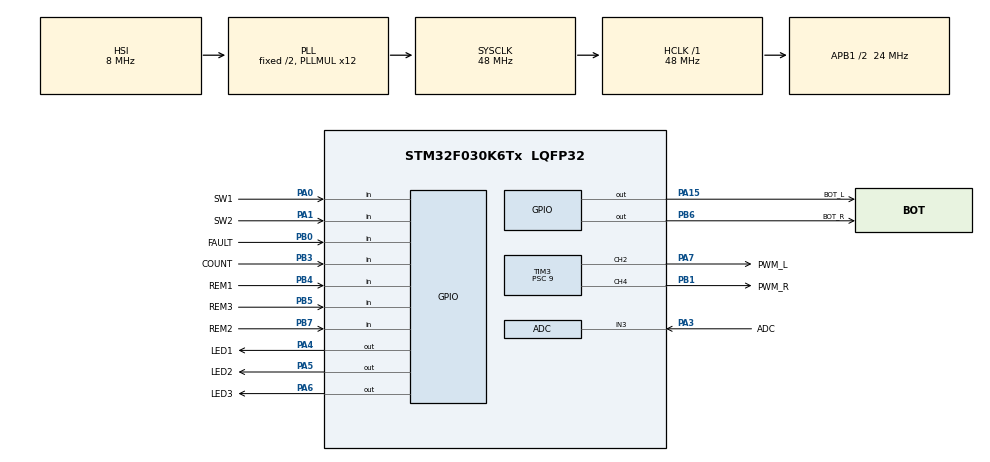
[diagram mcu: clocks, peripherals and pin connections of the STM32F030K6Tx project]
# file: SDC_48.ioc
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ADC.ContinuousConvMode=ENABLE
ADC.Overrun=ADC_OVR_DATA_OVERWRITTEN
Mcu.Family=STM32F0
Mcu.Name=STM32F030K6Tx
Mcu.Package=LQFP32
NVIC.TIM14_IRQn=true\:0\:0\:false\:false\:true\:true
NVIC.TIM16_IRQn=true\:0\:0\:false\:false\:true\:true
NVIC.TIM17_IRQn=true\:0\:0\:false\:false\:true\:true
PA0.GPIO_Label=SW1
PA0.Signal=GPIO_Input
PA1.GPIO_Label=SW2
PA1.Signal=GPIO_Input
PA13.Mode=Serial_Wire
PA13.Signal=SYS_SWDIO
PA14.Mode=Serial_Wire
PA14.Signal=SYS_SWCLK
PA15.GPIO_Label=BOT_L
PA15.Signal=GPIO_Output
PA3.GPIO_Label=ADC
PA3.Mode=IN3
PA3.Signal=ADC_IN3
PA4.GPIO_Label=LED1
PA4.Signal=GPIO_Output
PA5.GPIO_Label=LED2
PA5.Signal=GPIO_Output
PA6.GPIO_Label=LED3
PA6.Signal=GPIO_Output
PA7.GPIO_Label=PWM_L
PA7.Signal=S_TIM3_CH2
PB0.GPIO_Label=FAULT
PB0.Signal=GPIO_Input
PB1.GPIO_Label=PWM_R
PB1.GPIO_PuPd=GPIO_NOPULL
PB1.Signal=S_TIM3_CH4
PB3.GPIO_Label=COUNT
PB3.Signal=GPIO_Input
PB4.GPIO_Label=REM1
PB4.Signal=GPIO_Input
PB5.GPIO_Label=REM3
PB5.Signal=GPIO_Input
PB6.GPIO_Label=BOT_R
PB6.Signal=GPIO_Output
PB7.GPIO_Label=REM2
PB7.Signal=GPIO_Input
PF0-OSC_IN.Mode=HSE-External-Oscillator
PF0-OSC_IN.Signal=RCC_OSC_IN
PF1-OSC_OUT.Mode=HSE-External-Oscillator
PF1-OSC_OUT.Signal=RCC_OSC_OUT
ProjectManager.HeapSize=0x200
ProjectManager.StackSize=0x400
ProjectManager.TargetToolchain=SW4STM32
RCC.AHBFreq_Value=48000000
RCC.APB1CLKDivider=RCC_HCLK_DIV2
RCC.APB1Freq_Value=24000000
RCC.APB1TimFreq_Value=48000000
RCC.HCLKFreq_Value=48000000
RCC.HSE_VALUE=6000000
RCC.PLLMUL=RCC_PLL_MUL12
RCC.SYSCLKFreq_VALUE=48000000
RCC.SYSCLKSource=RCC_SYSCLKSOURCE_PLLCLK
SH.S_TIM3_CH2.0=TIM3_CH2,PWM Generation2 CH2
SH.S_TIM3_CH4.0=TIM3_CH4,PWM Generation4 CH4
TIM14.Period=23
TIM14.Prescaler=999
TIM16.AutoReloadPreload=TIM_AUTORELOAD_PRELOAD_ENABLE
TIM16.Period=479
TIM16.Prescaler=9999
TIM16.RepetitionCounter=0
TIM17.Period=47
TIM17.Prescaler=999
TIM3.AutoReloadPreload=TIM_AUTORELOAD_PRELOAD_ENABLE
TIM3.Channel-PWM\ Generation2\ CH2=TIM_CHANNEL_2
TIM3.Channel-PWM\ Generation4\ CH4=TIM_CHANNEL_4
TIM3.Period=239
TIM3.Prescaler=9
TIM3.Pulse-PWM\ Generation2\ CH2=24
TIM3.Pulse-PWM\ Generation4\ CH4=24
VP_TIM14_VS_ClockSourceINT.Mode=Enable_Timer
VP_TIM16_VS_ClockSourceINT.Mode=Enable_Timer
VP_TIM17_VS_ClockSourceINT.Mode=Enable_Timer
board=custom

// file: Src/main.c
/**
  ******************************************************************************
  * @file           : main.c
  * @brief          : Main program body
  ******************************************************************************
  ** This notice applies to any and all portions of this file
  * that are not between comment pairs USER CODE BEGIN and
  * USER CODE END. Other portions of this file, whether
  * inserted by the user or by software development tools
  * are owned by their respective copyright owners.
  *
  * COPYRIGHT(c) 2019 STMicroelectronics
  *
  * Redistribution and use in source and binary forms, with or without modification,
  * are permitted provided that the following conditions are met:
  *   1. Redistributions of source code must retain the above copyright notice,
  *      this list of conditions and the following disclaimer.
  *   2. Redistributions in binary form must reproduce the above copyright notice,
  *      this list of conditions and the following disclaimer in the documentation
  *      and/or other materials provided with the distribution.
  *   3. Neither the name of STMicroelectronics nor the names of its contributors
  *      may be used to endorse or promote products derived from this software
  *      without specific prior written permission.
  *
  * THIS SOFTWARE IS PROVIDED BY THE COPYRIGHT HOLDERS AND CONTRIBUTORS "AS IS"
  * AND ANY EXPRESS OR IMPLIED WARRANTIES, INCLUDING, BUT NOT LIMITED TO, THE
  * IMPLIED WARRANTIES OF MERCHANTABILITY AND FITNESS FOR A PARTICULAR PURPOSE ARE
  * DISCLAIMED. IN NO EVENT SHALL THE COPYRIGHT HOLDER OR CONTRIBUTORS BE LIABLE
  * FOR ANY DIRECT, INDIRECT, INCIDENTAL, SPECIAL, EXEMPLARY, OR CONSEQUENTIAL
  * DAMAGES (INCLUDING, BUT NOT LIMITED TO, PROCUREMENT OF SUBSTITUTE GOODS OR
  * SERVICES; LOSS OF USE, DATA, OR PROFITS; OR BUSINESS INTERRUPTION) HOWEVER
  * CAUSED AND ON ANY THEORY OF LIABILITY, WHETHER IN CONTRACT, STRICT LIABILITY,
  * OR TORT (INCLUDING NEGLIGENCE OR OTHERWISE) ARISING IN ANY WAY OUT OF THE USE
  * OF THIS SOFTWARE, EVEN IF ADVISED OF THE POSSIBILITY OF SUCH DAMAGE.
  *
  ******************************************************************************
  */
#include "main.h"
#include "stm32f0xx_hal.h"

ADC_HandleTypeDef hadc;

TIM_HandleTypeDef htim3;
TIM_HandleTypeDef htim14;
TIM_HandleTypeDef htim16;
TIM_HandleTypeDef htim17;

/* USER CODE BEGIN PV */
/* Private variables ---------------------------------------------------------*/
#define time_ms_for_50_pr 340  // oczekiwany czas do timera do 50%
#define time_ms_for_10_pr 1700 // oczekiwany czas do timera do 10%
#define expected_val_for_50_pr (time_ms_for_50_pr * 2)
#define expected_val_for_10_pr (time_ms_for_10_pr * 2)
#define tim_50_pr_max 120  // wartoœc max ocr dla pwm dla pwm przy 50%
#define tim_10_pr_max 34   // wartoœc max ocr dla pwm dla pwm przy 10%
uint8_t timer_50_pr_val = tim_50_pr_max;
uint8_t timer_10_pr_val = tim_10_pr_max;
uint32_t val_1;

#define FAST 1
#define SLOW 0
#define LEFT 0
#define RIGHT 1
#define ADD 1
#define DONT_ADD 0
#define FULL_OPEN 58	    // iloœc kroków do pe³nego otwarcia bramy
#define HALF_OPEN 37        // iloœc kroków do po³owy
uint16_t adc_val = 100;		// wartoœc chwilowa adc
uint8_t motor_steps = 0;	// licznik kroków (na magnesach)
uint8_t wait_for_fast = 0;	// licznki który po pewnym czasie za³¹cza szybkie otwieranie zamykanie
uint8_t direction;			// okreœla kierunek czy kroki maj¹ siê zwiêkszac czy zmniejszac
uint8_t adding_actived = 0;	// zlicza kroki tylko w czasie pracy silnika
uint16_t time_between = 0;	// okreœla czas miêdzy poszczególnymi krokami opcjonalnie na jej podstawie ustalanie bedzie wype³nienie miedzy trybem szybkim a wolnym 1 setunda = wartoœc zmiennej 2000
uint8_t last_step = 0;		// zmienna pomocnicza do tim14 i time_between s³u¿y do okreœlenia zmiany kroku
uint8_t current_step = 0;	// zmienna pomocnicza do tim14 i time_between s³u¿y do okreœlenia zmiany kroku
uint8_t speed_mode =SLOW;   // okreœla prêdkoœc silnika
/* USER CODE END PV */

void SystemClock_Config(void);
static void MX_GPIO_Init(void);
static void MX_ADC_Init(void);
static void MX_TIM3_Init(void);
static void MX_TIM16_Init(void);
static void MX_TIM17_Init(void);
static void MX_TIM14_Init(void);

void HAL_TIM_MspPostInit(TIM_HandleTypeDef *htim);

/* USER CODE BEGIN PFP */
/* Private function prototypes -----------------------------------------------*/

void HAL_TIM_PeriodElapsedCallback(TIM_HandleTypeDef *htim){
	if(htim->Instance == TIM14){
		// timer 2 kHz odpowiada za przeliczenie wype³nienia 44 - 50% na wyjœciu pwm w zale¿noœci od czasu miedzy zliczonymi krokami

		current_step = motor_steps;
		if(current_step != last_step){ // je¿eli licznik kroków w³aœnie siê zwiêkszy³ i w³¹czony jest tryb szybki to ...
			if(speed_mode == FAST){
			int val;
			val = expected_val_for_50_pr - time_between;
			if(val<0){ // czas pomiedzy nie mo¿e byc krótszy ni¿ oczekiwany je¿eli jest to podaj wype³nienie maksymalne
				timer_50_pr_val = tim_50_pr_max;
			}
			else if(val > 425){ // czas pomiedzy nie mo¿e byc za d³ugi wype³nienie minimalne 44%
				timer_50_pr_val = 105;
			}
			else{
				val_1 = ((expected_val_for_50_pr - time_between)*10000) / expected_val_for_50_pr; // przeliczanie czasu pomiedzy na wype³nienie (ko¿ysta z funkcji map z arduino)
				val_1 = (50 * 1000) - val_1;
				val_1 = (val_1 - 0) * ((tim_50_pr_max * 1000) - 0) / (5000 - 0) + 0;
				val_1 /= 1000;
				timer_50_pr_val = val_1;
			}
			}
			time_between = 0;  // po zmianie wype³nienia zeruje licznki
		}
		last_step = current_step;
		time_between++;  // zwiêkszanie licznika czasu pomiedzy
	}
	if(htim->Instance == TIM16){
		    // timer z przerwaniem na 10 Hz ma ustalic sta³¹ czasow¹ do prze³¹czania wype³nienia z 10 do 50% ( wolny start silnika )
			if(HAL_GPIO_ReadPin(SW1_GPIO_Port,SW1_Pin)==0){ // przy przycisku resetuje program na wszeli wypadek
				NVIC_SystemReset();
			}
			if(HAL_GPIO_ReadPin(FAULT_GPIO_Port,FAULT_Pin)==0){ // przy przycisku resetuje program na wszeli wypadek
				NVIC_SystemReset();
			}
			wait_for_fast++;
		}
	if(htim->Instance == TIM17){
		     // timer który zlicza kroki silnika ustawiony na 1 kHz
		if(HAL_GPIO_ReadPin(COUNT_GPIO_Port,COUNT_Pin)==0 && adding_actived){
			while(!HAL_GPIO_ReadPin(COUNT_GPIO_Port,COUNT_Pin));
			switch(direction){
			case LEFT:
				motor_steps--;
				break;
			case RIGHT:
				motor_steps++;
				break;
			}
		}
	}
}

//uint32_t map(uint32_t x, uint32_t in_min, uint32_t in_max, uint32_t out_min, uint32_t out_max) {   // mapuje wartoœc adc by przeliczyc j¹ na wolty
//	return (x - in_min) * (out_max - out_min) / (in_max - in_min) + out_min;
//}
void change_speed(uint8_t channel,uint8_t speed){
	speed_mode = speed;
	if(channel == 4){
		if(speed==FAST)TIM3->CCR4 = timer_50_pr_val;
		if(speed==SLOW)TIM3->CCR4 = 34;
	}
	if(channel == 2){
		if(speed==FAST)TIM3->CCR2 = timer_50_pr_val;
		if(speed==SLOW)TIM3->CCR2 = 34;
	}
}
void go_left(uint8_t adding){ // silnik skrêca w lewo
	direction = LEFT;  // zmienna u¿ywana w timerze (wie czy zwiêkszac czy zmniejszac licznik kroków)
	adding_actived = adding;  // zmienna która daje info do timera czy zliczac kroki
	HAL_GPIO_WritePin(BOT_L_GPIO_Port,BOT_L_Pin,0);
	HAL_GPIO_WritePin(BOT_R_GPIO_Port,BOT_R_Pin,1);
	HAL_TIM_PWM_Stop(&htim3,TIM_CHANNEL_4);
	HAL_GPIO_WritePin(PWM_R_GPIO_Port,PWM_R_Pin,0);
	HAL_TIM_PWM_Start(&htim3,TIM_CHANNEL_2);
//	adding_actived = 0;
}
void go_right(uint8_t adding){ // silnik skrêca w prawo
	direction = RIGHT;  // zmienna u¿ywana w timerze (wie czy zwiêkszac czy zmniejszac licznik kroków)
	adding_actived = adding; // zmienna która daje info do timera czy zliczac kroki
	HAL_GPIO_WritePin(BOT_L_GPIO_Port,BOT_L_Pin,1);
	HAL_GPIO_WritePin(BOT_R_GPIO_Port,BOT_R_Pin,0);
	HAL_TIM_PWM_Stop(&htim3,TIM_CHANNEL_2);
	HAL_GPIO_WritePin(PWM_L_GPIO_Port,PWM_L_Pin,0);
	HAL_TIM_PWM_Start(&htim3,TIM_CHANNEL_4);
//	adding_actived = 0;
}
void open_full(void){  // pe³ne otwieranie bramy
	uint8_t last_speed=0;
	wait_for_fast=0;
	go_right(ADD);
	while(motor_steps<FULL_OPEN){
//		go_right();
		if(wait_for_fast==50 && motor_steps < FULL_OPEN-4)last_speed=1;  // wype³nienie 50% po 5 sekundach
		if(motor_steps >= FULL_OPEN-3){  // wype³nienie 10% je¿eli brama ma 3 kroki do zakoñczenia otwierania
			last_speed=0;
			change_speed(4,SLOW);
		}
		if(last_speed)change_speed(4,FAST);
	}
}
void open_half(void){  // otwieranie bramy do po³owy
	uint8_t last_speed=0;
	wait_for_fast=0;
//	adding_actived = 1;
	go_right(ADD);
	while(motor_steps<HALF_OPEN){
//		go_right();
		if(wait_for_fast==50 && motor_steps < HALF_OPEN-4)last_speed=1; // wype³nienie 50% po 5 sekundach
		if(motor_steps >= HALF_OPEN-3){  // wype³nienie 10% je¿eli brama ma 3 kroki do zakoñczenia otwierania
			last_speed=0;
			change_speed(4,SLOW);

		}
		if(last_speed)change_speed(4,FAST);
	}

}
void close(void){
	uint8_t last_speed=0;
	wait_for_fast=0;
	go_left(ADD);
	while(motor_steps!=0){
//		go_left();
		if(HAL_GPIO_ReadPin(REM2_GPIO_Port,REM2_Pin)==0){  // je¿eli w trakcie zamykania pilot zostanie klikniêty otwiera bramê
			stop_motor();
			TIM3->CCR2 = 34;
			HAL_Delay(50);
			if(motor_steps < HALF_OPEN)open_half();
			else open_full();
			break;
		}
		if(wait_for_fast==50 && motor_steps > 4)last_speed=1; // wype³nienie 50% po 5 sekundach
		if(motor_steps <= 3){  // wype³nienie 10% je¿eli brama ma 3 kroki do zakoñczenia zamykania
			last_speed=0;
			change_speed(2,SLOW);
		}
		if(last_speed)change_speed(2,FAST);
	}
}
void stop_motor(void){ // hamowanie silnika
	adding_actived = 0;  // wy³¹cza zliczanie kroków
	HAL_GPIO_WritePin(BOT_L_GPIO_Port,BOT_L_Pin,1);
	HAL_GPIO_WritePin(BOT_R_GPIO_Port,BOT_R_Pin,1);
	HAL_TIM_PWM_Stop(&htim3,TIM_CHANNEL_4);
	HAL_GPIO_WritePin(PWM_R_GPIO_Port,PWM_R_Pin,0);
	HAL_TIM_PWM_Stop(&htim3,TIM_CHANNEL_2);
	HAL_GPIO_WritePin(PWM_L_GPIO_Port,PWM_L_Pin,0);
}
void gpio_init(void){  // "mryganie" diod na starcie i zahamowanie silnika
	stop_motor();
	HAL_GPIO_WritePin(LED1_GPIO_Port,LED1_Pin,1);
	HAL_GPIO_WritePin(LED2_GPIO_Port,LED2_Pin,0);
	HAL_GPIO_WritePin(LED3_GPIO_Port,LED3_Pin,1);
	HAL_Delay(1000);
	HAL_GPIO_WritePin(LED1_GPIO_Port,LED1_Pin,0);
	HAL_GPIO_WritePin(LED2_GPIO_Port,LED2_Pin,1);
	HAL_GPIO_WritePin(LED3_GPIO_Port,LED3_Pin,0);
	HAL_Delay(1000);
	HAL_GPIO_WritePin(LED1_GPIO_Port,LED1_Pin,1);
	HAL_GPIO_WritePin(LED2_GPIO_Port,LED2_Pin,1);
	HAL_GPIO_WritePin(LED3_GPIO_Port,LED3_Pin,1);
}
void reset_pos(void){
	adding_actived = 0;
	while(HAL_GPIO_ReadPin(REM1_GPIO_Port,REM1_Pin)){ // przycisk na p³ytce po prawej z brzegu
		// wykonuje siê dopuki u¿ytkownik nie zatwierdzi pozycji "zero"
		// za pomoc¹ przycisków podnoszenie opuszczanie bramy
		// przy nie wciœniêtych przyciskach hamowanie silnika

		if(HAL_GPIO_ReadPin(REM3_GPIO_Port,REM3_Pin)==0){  // przycisk na p³ytce po œrodku
			HAL_Delay(100);
			while(!HAL_GPIO_ReadPin(REM3_GPIO_Port,REM3_Pin)){
				go_left(DONT_ADD); // w dó³
				adding_actived = 0;
				HAL_GPIO_WritePin(LED3_GPIO_Port,LED3_Pin,0);
			}
		}
		if(HAL_GPIO_ReadPin(REM2_GPIO_Port,REM2_Pin)==0){  // przycisk na p³ytce po lewej z brzegu
			HAL_Delay(100);
			while(!HAL_GPIO_ReadPin(REM2_GPIO_Port,REM2_Pin)){
				go_right(DONT_ADD);  // do góry
				adding_actived = 0;
				HAL_GPIO_WritePin(LED1_GPIO_Port,LED1_Pin,0);
			}
		}
		HAL_GPIO_WritePin(LED1_GPIO_Port,LED1_Pin,1);
		HAL_GPIO_WritePin(LED3_GPIO_Port,LED3_Pin,1);
		stop_motor();

	}
//	HAL_Delay(2000);
	gpio_init();
	HAL_Delay(2000);
	motor_steps = 0; // zeruje licznik kroków
}
/* USER CODE END PFP */

int main(void)
{

  /* MCU Configuration----------------------------------------------------------*/

  /* Reset of all peripherals, Initializes the Flash interface and the Systick. */
  HAL_Init();

  /* Configure the system clock */
  SystemClock_Config();

  /* Initialize all configured peripherals */
  MX_GPIO_Init();
  MX_ADC_Init();
  MX_TIM3_Init();
  MX_TIM16_Init();
  MX_TIM17_Init();
  MX_TIM14_Init();
  /* USER CODE BEGIN 2 */
	gpio_init();
	HAL_ADC_Start(&hadc);
	HAL_TIM_Base_Start_IT(&htim14);
	HAL_TIM_Base_Start_IT(&htim16);
	HAL_TIM_Base_Start_IT(&htim17);
	reset_pos();
  /* USER CODE END 2 */

  /* Infinite loop */
	while (1)
	{

  /* USER CODE BEGIN 3 */

		//		/*
		if (HAL_ADC_PollForConversion(&hadc, 10) == HAL_OK) {
			adc_val = HAL_ADC_GetValue(&hadc);
			HAL_ADC_Start(&hadc);
		}

		if(HAL_GPIO_ReadPin(REM2_GPIO_Port,REM2_Pin)==0){  // po wciœnieciu lewego przycisku otwiera do po³owy lub zamyka bramê zale¿y w jakiej jest pozycji
			HAL_Delay(100);
			while(!HAL_GPIO_ReadPin(REM2_GPIO_Port,REM2_Pin)){
//				HAL_Delay(500);
				switch(motor_steps){
				case 0:
					HAL_GPIO_WritePin(LED3_GPIO_Port,LED3_Pin,0);
					open_half();
					break;
				case HALF_OPEN:
					HAL_GPIO_WritePin(LED1_GPIO_Port,LED1_Pin,0);
					HAL_Delay(200);
					close();
					break;
				case FULL_OPEN:
					HAL_GPIO_WritePin(LED1_GPIO_Port,LED1_Pin,0);
					HAL_Delay(200);
					close();
					break;
				}
			}
		}
		if(HAL_GPIO_ReadPin(REM3_GPIO_Port,REM3_Pin)==0 && motor_steps < FULL_OPEN){  // po wciœnieciu œrodkowego przycisku otwiera ca³kowicie bramê
			HAL_Delay(100);
			while(!HAL_GPIO_ReadPin(REM3_GPIO_Port,REM3_Pin)){
				HAL_GPIO_WritePin(LED2_GPIO_Port,LED2_Pin,0);
				open_full();
			}
		}
		HAL_GPIO_WritePin(LED1_GPIO_Port,LED1_Pin,1);
		HAL_GPIO_WritePin(LED2_GPIO_Port,LED2_Pin,1);
		HAL_GPIO_WritePin(LED3_GPIO_Port,LED3_Pin,1);
		stop_motor();  // przy wy³¹czeniu hamuje silnik
		//		*/

	}
  /* USER CODE END 3 */

}

void SystemClock_Config(void)
{

  RCC_OscInitTypeDef RCC_OscInitStruct;
  RCC_ClkInitTypeDef RCC_ClkInitStruct;

    /**Initializes the CPU, AHB and APB busses clocks
    */
  RCC_OscInitStruct.OscillatorType = RCC_OSCILLATORTYPE_HSI|RCC_OSCILLATORTYPE_HSI14;
  RCC_OscInitStruct.HSIState = RCC_HSI_ON;
  RCC_OscInitStruct.HSI14State = RCC_HSI14_ON;
  RCC_OscInitStruct.HSICalibrationValue = 16;
  RCC_OscInitStruct.HSI14CalibrationValue = 16;
  RCC_OscInitStruct.PLL.PLLState = RCC_PLL_ON;
  RCC_OscInitStruct.PLL.PLLSource = RCC_PLLSOURCE_HSI;
  RCC_OscInitStruct.PLL.PLLMUL = RCC_PLL_MUL12;
  RCC_OscInitStruct.PLL.PREDIV = RCC_PREDIV_DIV1;
  if (HAL_RCC_OscConfig(&RCC_OscInitStruct) != HAL_OK)
  {
    _Error_Handler(__FILE__, __LINE__);
  }

    /**Initializes the CPU, AHB and APB busses clocks
    */
  RCC_ClkInitStruct.ClockType = RCC_CLOCKTYPE_HCLK|RCC_CLOCKTYPE_SYSCLK
                              |RCC_CLOCKTYPE_PCLK1;
  RCC_ClkInitStruct.SYSCLKSource = RCC_SYSCLKSOURCE_PLLCLK;
  RCC_ClkInitStruct.AHBCLKDivider = RCC_SYSCLK_DIV1;
  RCC_ClkInitStruct.APB1CLKDivider = RCC_HCLK_DIV2;

  if (HAL_RCC_ClockConfig(&RCC_ClkInitStruct, FLASH_LATENCY_1) != HAL_OK)
  {
    _Error_Handler(__FILE__, __LINE__);
  }

    /**Configure the Systick interrupt time
    */
  HAL_SYSTICK_Config(HAL_RCC_GetHCLKFreq()/1000);

    /**Configure the Systick
    */
  HAL_SYSTICK_CLKSourceConfig(SYSTICK_CLKSOURCE_HCLK);

  /* SysTick_IRQn interrupt configuration */
  HAL_NVIC_SetPriority(SysTick_IRQn, 0, 0);
}

/* ADC init function */
static void MX_ADC_Init(void)
{

  ADC_ChannelConfTypeDef sConfig;

    /**Configure the global features of the ADC (Clock, Resolution, Data Alignment and number of conversion)
    */
  hadc.Instance = ADC1;
  hadc.Init.ClockPrescaler = ADC_CLOCK_ASYNC_DIV1;
  hadc.Init.Resolution = ADC_RESOLUTION_12B;
  hadc.Init.DataAlign = ADC_DATAALIGN_RIGHT;
  hadc.Init.ScanConvMode = ADC_SCAN_DIRECTION_FORWARD;
  hadc.Init.EOCSelection = ADC_EOC_SINGLE_CONV;
  hadc.Init.LowPowerAutoWait = DISABLE;
  hadc.Init.LowPowerAutoPowerOff = DISABLE;
  hadc.Init.ContinuousConvMode = ENABLE;
  hadc.Init.DiscontinuousConvMode = DISABLE;
  hadc.Init.ExternalTrigConv = ADC_SOFTWARE_START;
  hadc.Init.ExternalTrigConvEdge = ADC_EXTERNALTRIGCONVEDGE_NONE;
  hadc.Init.DMAContinuousRequests = DISABLE;
  hadc.Init.Overrun = ADC_OVR_DATA_OVERWRITTEN;
  if (HAL_ADC_Init(&hadc) != HAL_OK)
  {
    _Error_Handler(__FILE__, __LINE__);
  }

    /**Configure for the selected ADC regular channel to be converted.
    */
  sConfig.Channel = ADC_CHANNEL_3;
  sConfig.Rank = ADC_RANK_CHANNEL_NUMBER;
  sConfig.SamplingTime = ADC_SAMPLETIME_1CYCLE_5;
  if (HAL_ADC_ConfigChannel(&hadc, &sConfig) != HAL_OK)
  {
    _Error_Handler(__FILE__, __LINE__);
  }

}

/* TIM3 init function */
static void MX_TIM3_Init(void)
{

  TIM_MasterConfigTypeDef sMasterConfig;
  TIM_OC_InitTypeDef sConfigOC;

  htim3.Instance = TIM3;
  htim3.Init.Prescaler = 9;
  htim3.Init.CounterMode = TIM_COUNTERMODE_UP;
  htim3.Init.Period = 239;
  htim3.Init.ClockDivision = TIM_CLOCKDIVISION_DIV1;
  htim3.Init.AutoReloadPreload = TIM_AUTORELOAD_PRELOAD_ENABLE;
  if (HAL_TIM_PWM_Init(&htim3) != HAL_OK)
  {
    _Error_Handler(__FILE__, __LINE__);
  }

  sMasterConfig.MasterOutputTrigger = TIM_TRGO_RESET;
  sMasterConfig.MasterSlaveMode = TIM_MASTERSLAVEMODE_DISABLE;
  if (HAL_TIMEx_MasterConfigSynchronization(&htim3, &sMasterConfig) != HAL_OK)
  {
    _Error_Handler(__FILE__, __LINE__);
  }

  sConfigOC.OCMode = TIM_OCMODE_PWM1;
  sConfigOC.Pulse = 34;
  sConfigOC.OCPolarity = TIM_OCPOLARITY_HIGH;
  sConfigOC.OCFastMode = TIM_OCFAST_DISABLE;
  if (HAL_TIM_PWM_ConfigChannel(&htim3, &sConfigOC, TIM_CHANNEL_2) != HAL_OK)
  {
    _Error_Handler(__FILE__, __LINE__);
  }

  if (HAL_TIM_PWM_ConfigChannel(&htim3, &sConfigOC, TIM_CHANNEL_4) != HAL_OK)
  {
    _Error_Handler(__FILE__, __LINE__);
  }

  HAL_TIM_MspPostInit(&htim3);

}

/* TIM14 init function */
static void MX_TIM14_Init(void)
{

  htim14.Instance = TIM14;
  htim14.Init.Prescaler = 999;
  htim14.Init.CounterMode = TIM_COUNTERMODE_UP;
  htim14.Init.Period = 23;
  htim14.Init.ClockDivision = TIM_CLOCKDIVISION_DIV1;
  htim14.Init.AutoReloadPreload = TIM_AUTORELOAD_PRELOAD_DISABLE;
  if (HAL_TIM_Base_Init(&htim14) != HAL_OK)
  {
    _Error_Handler(__FILE__, __LINE__);
  }

}

/* TIM16 init function */
static void MX_TIM16_Init(void)
{

  htim16.Instance = TIM16;
  htim16.Init.Prescaler = 9999;
  htim16.Init.CounterMode = TIM_COUNTERMODE_UP;
  htim16.Init.Period = 479;
  htim16.Init.ClockDivision = TIM_CLOCKDIVISION_DIV1;
  htim16.Init.RepetitionCounter = 0;
  htim16.Init.AutoReloadPreload = TIM_AUTORELOAD_PRELOAD_ENABLE;
  if (HAL_TIM_Base_Init(&htim16) != HAL_OK)
  {
    _Error_Handler(__FILE__, __LINE__);
  }

}

/* TIM17 init function */
static void MX_TIM17_Init(void)
{

  htim17.Instance = TIM17;
  htim17.Init.Prescaler = 999;
  htim17.Init.CounterMode = TIM_COUNTERMODE_UP;
  htim17.Init.Period = 47;
  htim17.Init.ClockDivision = TIM_CLOCKDIVISION_DIV1;
  htim17.Init.RepetitionCounter = 0;
  htim17.Init.AutoReloadPreload = TIM_AUTORELOAD_PRELOAD_DISABLE;
  if (HAL_TIM_Base_Init(&htim17) != HAL_OK)
  {
    _Error_Handler(__FILE__, __LINE__);
  }

}

/** Configure pins as
        * Analog
        * Input
        * Output
        * EVENT_OUT
        * EXTI
*/
static void MX_GPIO_Init(void)
{

  GPIO_InitTypeDef GPIO_InitStruct;

  /* GPIO Ports Clock Enable */
  __HAL_RCC_GPIOF_CLK_ENABLE();
  __HAL_RCC_GPIOA_CLK_ENABLE();
  __HAL_RCC_GPIOB_CLK_ENABLE();

  /*Configure GPIO pin Output Level */
  HAL_GPIO_WritePin(GPIOA, LED1_Pin|LED2_Pin|LED3_Pin|BOT_L_Pin, GPIO_PIN_RESET);

  /*Configure GPIO pin Output Level */
  HAL_GPIO_WritePin(BOT_R_GPIO_Port, BOT_R_Pin, GPIO_PIN_RESET);

  /*Configure GPIO pins : SW1_Pin SW2_Pin */
  GPIO_InitStruct.Pin = SW1_Pin|SW2_Pin;
  GPIO_InitStruct.Mode = GPIO_MODE_INPUT;
  GPIO_InitStruct.Pull = GPIO_NOPULL;
  HAL_GPIO_Init(GPIOA, &GPIO_InitStruct);

  /*Configure GPIO pins : LED1_Pin LED2_Pin LED3_Pin BOT_L_Pin */
  GPIO_InitStruct.Pin = LED1_Pin|LED2_Pin|LED3_Pin|BOT_L_Pin;
  GPIO_InitStruct.Mode = GPIO_MODE_OUTPUT_PP;
  GPIO_InitStruct.Pull = GPIO_NOPULL;
  GPIO_InitStruct.Speed = GPIO_SPEED_FREQ_LOW;
  HAL_GPIO_Init(GPIOA, &GPIO_InitStruct);

  /*Configure GPIO pins : FAULT_Pin COUNT_Pin REM1_Pin REM3_Pin
                           REM2_Pin */
  GPIO_InitStruct.Pin = FAULT_Pin|COUNT_Pin|REM1_Pin|REM3_Pin
                          |REM2_Pin;
  GPIO_InitStruct.Mode = GPIO_MODE_INPUT;
  GPIO_InitStruct.Pull = GPIO_NOPULL;
  HAL_GPIO_Init(GPIOB, &GPIO_InitStruct);

  /*Configure GPIO pin : BOT_R_Pin */
  GPIO_InitStruct.Pin = BOT_R_Pin;
  GPIO_InitStruct.Mode = GPIO_MODE_OUTPUT_PP;
  GPIO_InitStruct.Pull = GPIO_NOPULL;
  GPIO_InitStruct.Speed = GPIO_SPEED_FREQ_LOW;
  HAL_GPIO_Init(BOT_R_GPIO_Port, &GPIO_InitStruct);

}

void _Error_Handler(char *file, int line)
{
	while(1)
	{
	}
}

/************************ (C) COPYRIGHT STMicroelectronics *****END OF FILE****/
